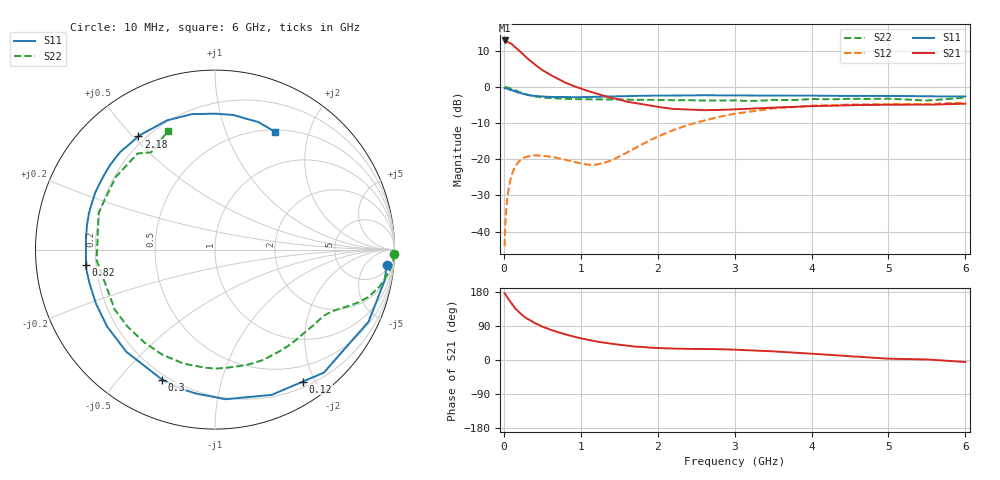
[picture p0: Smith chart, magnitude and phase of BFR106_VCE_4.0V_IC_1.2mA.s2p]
! Infineon Technologies  Discrete & RF Semiconductors
! BFR106
! VCE =  4.0 V,  IC =  1.2 mA
! Common Emitter S-Parameters:  Nov 2015
# GHz  S  MA  R  50
!  f  S11  S21  S12  S22
! GHz  MAG  ANG  MAG  ANG  MAG  ANG  MAG  ANG
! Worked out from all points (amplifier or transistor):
!   210 points, 10 MHz to 6 GHz, reference 50 ohm
!   highest |S21| = 12.8 dB at 10 MHz (marker M1)
!   |S21| within 3 dB of that: start of sweep to 210 MHz
!   unconditionally stable (mu >= 1): 839.5 MHz to 1.897 GHz; 1.919891 GHz to 1.920121 GHz; 3.052 GHz to end of sweep
!   at 185 MHz: K = 0.21, MSG = 15.6 dB, |S12| = -20.9 dB
!   at 1.52 GHz: K = 1.29, MAG = 4.5 dB, |S12| = -19.0 dB
!   at 6 GHz: K = 1.02, MAG = -1.0 dB, |S12| = -4.4 dB
!   S11 on the Smith chart (normalised r, x): 10 MHz: 9, -19; 120 MHz: 0.27, -1.84; 300 MHz: 0.18, -0.66; 820 MHz: 0.16, -0.06; 2.18 GHz: 0.17, +0.52; 6 GHz: 0.52, +1.50
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0.01  0.96 -5.0  4.376 176.1  0.0063 89.2  0.9989 -1.5
0.02  0.9609 -10.2  4.358 173.6  0.0132 83.9  0.9987 -2.9
0.045  0.9433 -22.6  4.218 165.1  0.0291 76.2  0.983 -6.1
0.1  0.9153 -48.5  3.935 149.3  0.0602 63.7  0.9408 -12.6
0.12  0.8835 -56.3  3.743 144.2  0.068 58.4  0.9214 -14.4
0.15  0.8687 -68.7  3.519 135.6  0.0805 52.5  0.894 -17.2
0.2  0.8357 -86.0  3.173 125.6  0.0943 44.4  0.85 -20.3
0.26  0.7996 -102.8  2.757 114.9  0.1044 36.6  0.8033 -23.1
0.3  0.7823 -112.1  2.504 109.3  0.1086 33.0  0.7803 -24.6
0.4  0.7539 -130.9  2.044 97.7  0.1131 25.4  0.7385 -27.7
0.5  0.7383 -144.5  1.706 87.9  0.1121 21.2  0.7133 -30.7
0.6  0.7283 -155.6  1.474 80.2  0.1093 18.8  0.7001 -34.0
0.82  0.7239 -173.2  1.121 66.6  0.0972 19.8  0.6817 -41.8
1.02  0.7224 173.4  0.932 56.5  0.0867 28.7  0.6752 -49.5
1.4  0.739 154.4  0.705 42.8  0.0966 59.0  0.6712 -65.9
2.02  0.7563 129.6  0.526 31.5  0.2094 73.4  0.6591 -96.1
2.18  0.7616 124.1  0.499 30.3  0.2467 71.8  0.6579 -104.3
3.1  0.7623 97.8  0.494 26.4  0.4395 49.7  0.6425 -154.2
3.5  0.7573 89.6  0.517 22.8  0.5045 39.5  0.6622 -174.9
4.1  0.7549 81.1  0.545 15.4  0.5523 25.2  0.6757 158.5
5.1  0.7483 70.4  0.567 3.0  0.5782 7.7  0.6793 127.8
6  0.7363 63.1  0.586 -5.3  0.6046 -3.4  0.7108 111.7
